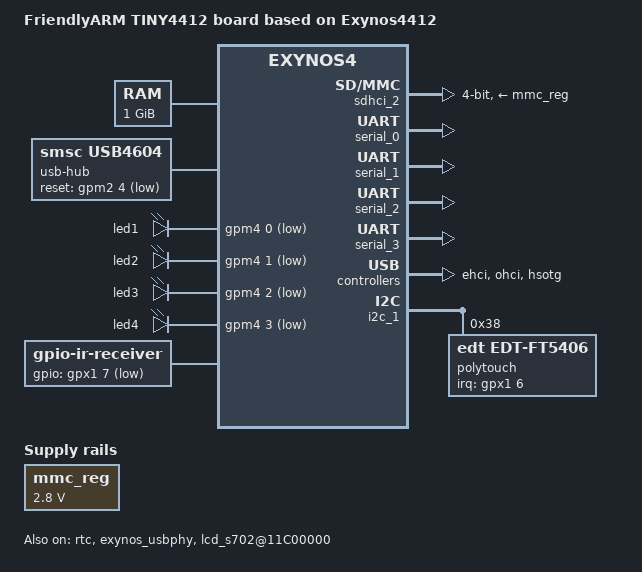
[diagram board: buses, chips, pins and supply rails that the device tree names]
/*
 * FriendlyARM's Exynos4412 based TINY4412 board device tree source
 *
 * Copyright (c) 2013 Alex Ling <kasimling@gmail.com>
 *
 * Device tree source file for FriendlyARM's TINY4412 board which is based on
 * Samsung's Exynos4412 SoC.
 *
 * This program is free software; you can redistribute it and/or modify
 * it under the terms of the GNU General Public License version 2 as
 * published by the Free Software Foundation.
*/

/dts-v1/;
#include "exynos4412.dtsi"
#include <dt-bindings/gpio/gpio.h>
#include <dt-bindings/usb4604/usb4604.h>

/ {
	model = "FriendlyARM TINY4412 board based on Exynos4412";
	compatible = "friendlyarm,tiny4412", "samsung,exynos4412", "samsung,exynos4";

	chosen {
		stdout-path = &serial_0;
		bootargs = "root=/dev/ram0 rw rootfstype=ext4 console=ttySAC0,115200 init=/linuxrc earlyprintk";
	};

	memory@40000000 {
		device_type = "memory";
		reg = <0x40000000 0x40000000>;
	};

    usb-hub {
        compatible = "smsc,usb4604";
		reset-gpios = <&gpm2 4 GPIO_ACTIVE_LOW>;
        initial-mode = <USB4604_MODE_HUB>;
    };

	regulators {
    		compatible = "simple-bus";
    		#address-cells = <1>;
    		#size-cells = <0>;

   		mmc_reg: regulator@0{
			compatible = "regulator-fixed";
			reg = <0>;
			regulator-name = "VMEM_VDD_2.8V";
			regulator-min-microvolt = <2800000>;
			regulator-max-microvolt = <2800000>;
		}; 

        lcd_reg: regulator@1{
			compatible = "tiny4412,lcd_regulator";
			regulator-name = "VCC_LCD";
			regulator-min-microvolt = <1200000>;
			regulator-max-microvolt = <1200000>;
		};
	};

	leds {
		compatible = "gpio-leds";

		led1 {
			label = "led1";
			gpios = <&gpm4 0 GPIO_ACTIVE_LOW>;
			default-state = "off";
			linux,default-trigger = "heartbeat";
		};

		led2 {
			label = "led2";
			gpios = <&gpm4 1 GPIO_ACTIVE_LOW>;
			default-state = "off";
		};

		led3 {
			label = "led3";
			gpios = <&gpm4 2 GPIO_ACTIVE_LOW>;
			default-state = "off";
		};

		led4 {
			label = "led4";
			gpios = <&gpm4 3 GPIO_ACTIVE_LOW>;
			default-state = "off";
			linux,default-trigger = "mmc0";
		};
	};

	fixed-rate-clocks {
		xxti {
			compatible = "samsung,clock-xxti";
			clock-frequency = <0>;
		};

		xusbxti {
			compatible = "samsung,clock-xusbxti";
			clock-frequency = <24000000>;
		};
	};

	backlight_demo@139D0000{
        	compatible = "tiny4412,backlight";
        	reg = <0x139D0000  0x14>;
        	tiny4412,backlight = <&gpx1 2 GPIO_ACTIVE_HIGH>;
        	pinctrl-names = "backlight_out","backlight_in";
        	pinctrl-0 = <&backlight_out>;
        	pinctrl-1 = <&backlight_in>;
       		interrupts = <0 40 0>;
        	clocks = <&clock CLK_PWM>;
        	clock-names = "timers";
        };
        
    lcd_s702@11C00000 {
        compatible = "tiny4412, lcd_s702";
        reg = <0x11C00000  0x20c0 0x10010210 0x08 0x10023c80 0x04 0x1003c000 0x1000>;
        pinctrl-names = "default";
        pinctrl-0 = <&lcd_s702>;
        clocks = <&clock CLK_FIMD0 &clock CLK_ACLK160>;
        clock-names = "fimd0","aclk160";
        vlcd-supply = <&lcd_reg>;
        status = "okay";
    };    

    button_interrupt: button_interrupt {
        compatible         = "tiny4412,button_interrupt";
        tiny4412,gpx3_2 = <&gpx3 2 GPIO_ACTIVE_HIGH>;
        tiny4412,gpx3_3 = <&gpx3 3 GPIO_ACTIVE_HIGH>;
        tiny4412,gpx3_4 = <&gpx3 4 GPIO_ACTIVE_HIGH>;
        tiny4412,gpx3_5 = <&gpx3 5 GPIO_ACTIVE_HIGH>;
    }; 

	ir: ir-receiver {
		compatible = "gpio-ir-receiver";
		gpios = <&gpx1 7 1>;
		linux,rc-map-name = "rc-hceng-nec";
	};
};

&rtc {
	status = "okay";
};

&sdhci_2 {
	bus-width = <4>;
	pinctrl-0 = <&sd2_clk &sd2_cmd &sd2_cd &sd2_bus4>;
	pinctrl-names = "default";
	vmmc-supply = <&mmc_reg>;
	status = "okay";
};

&serial_0 {
	status = "okay";
};

&serial_1 {
	status = "okay";
};

&serial_2 {
	status = "okay";
};

&serial_3 {
	status = "okay";
};


&exynos_usbphy {
    status = "okay";
};

&ehci {
    status = "okay";
    port@0 {
        status = "okay";
    };
    port@1 {
        status = "okay";
    };
    port@2 {
        status = "okay";
    };
};

&ohci {
    status = "okay";
    port@0 {
        status = "okay";
    };
};

&hsotg {
    status = "okay";
};


&pinctrl_1 {
        backlight_out: backlight_out{
                samsung,pins = "gpx1-2";
                samsung,pin-function = <1>;
                samsung,pin-pud = <0>;
                samsung,pin-drv = <0>;
        };
         backlight_in: backlight_in{
                samsung,pins = "gpx1-2";
                samsung,pin-function = <0>;
                samsung,pin-pud = <0>;
                samsung,pin-drv = <0>;
        };
};


&pinctrl_0 {
    lcd_s702:lcd {
        samsung,pins = "gpf0-0", "gpf0-1", "gpf0-2", "gpf0-3", "gpf0-4",
        "gpf0-5", "gpf0-6","gpf0-7", "gpf1-0", "gpf1-1",
        "gpf1-2", "gpf1-3", "gpf1-4", "gpf1-5", "gpf1-6",
        "gpf1-7", "gpf2-0", "gpf2-1", "gpf2-2", "gpf2-3", 
        "gpf2-4", "gpf2-5", "gpf2-6","gpf2-7", "gpf3-0",
        "gpf3-1", "gpf3-2", "gpf3-3";
        samsung,pin-function = <2>;
        samsung,pin-pud = <0>;
        samsung,pin-drv = <0>;
    };
};

&i2c_1 {
    samsung,i2c-sda-delay = <100>;
    samsung,i2c-max-bus-freq = <400000>;
    status = "okay";
    polytouch: edt-ft5x06@38 { 
        compatible = "edt,edt-ft5406", "edt,edt-ft5x06";
		reg = <0x38>;
		interrupt-parent = <&gpx1>;
		interrupts = <6 IRQ_TYPE_EDGE_FALLING>; 
        touchscreen-size-x = <800>;
        touchscreen-size-y = <480>;
    }; 
};


